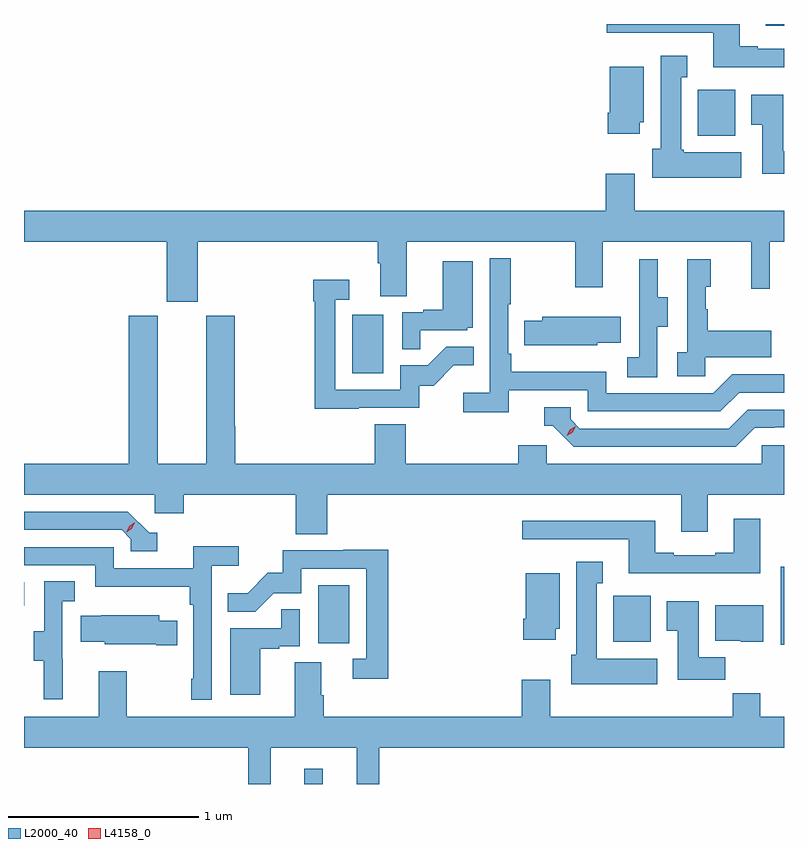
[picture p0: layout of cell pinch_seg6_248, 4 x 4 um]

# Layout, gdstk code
import gdstk
lib = gdstk.Library(unit=1e-6, precision=1e-09)
def R(c, l, rs):  # rectangles x0, y0, x1, y1
    for r in rs: c.add(gdstk.rectangle(r[:2], r[2:], *l))
def P(c, l, *ps):  # polygons
    for p in ps: c.add(gdstk.Polygon(p, *l))
L2000_40 = (2000, 40)
L4158_0 = (4158, 0)

pinch_seg6_248 = lib.new_cell('pinch_seg6_248')
R(pinch_seg6_248, L2000_40, [(1132.322,920.506,1132.419,920.587), (1134.83,921.239,1134.846,921.649), (1132.394,921.246,1132.558,921.553), (1133.948,921.254,1134.145,921.496), (1130.846,921.443,1130.848,921.567), (1132.574,922.668,1132.738,922.975), (1134.392,923.918,1134.589,924.16), (1134.749,924.498,1134.846,924.506)])
P(pinch_seg6_248, L2000_40, [(1134.846,924.375),(1134.709,924.375),(1134.709,924.388),(1134.613,924.388),(1134.613,924.506),(1133.913,924.506),(1133.913,924.459),(1134.473,924.459),(1134.473,924.278),(1134.846,924.278)],
  [(1134.622,923.83),(1134.318,923.83),(1134.318,923.844),(1134.304,923.844),(1134.304,924.227),(1134.337,924.227),(1134.337,924.34),(1134.197,924.34),(1134.197,923.85),(1134.152,923.85),(1134.152,923.696),(1134.622,923.696)],
  [(1134.088,923.988),(1134.109,923.988),(1134.109,924.28),(1133.93,924.28),(1133.93,924.04),(1133.918,924.04),(1133.918,923.928),(1134.088,923.928)],
  [(1134.846,923.836),(1134.841,923.836),(1134.841,924.133),(1134.674,924.133),(1134.674,923.977),(1134.731,923.977),(1134.731,923.718),(1134.846,923.718)],
  [(1131.76,923.36),(1132.709,923.36),(1132.709,923.248),(1132.721,923.248),(1132.721,923.074),(1132.861,923.074),(1132.861,923.36),(1133.746,923.36),(1133.746,923.121),(1133.893,923.121),(1133.893,923.36),(1134.674,923.36),(1134.674,923.112),(1134.771,923.112),(1134.771,923.36),(1134.846,923.36),(1134.846,923.524),(1134.061,923.524),(1134.061,923.719),(1133.909,923.719),(1133.909,923.524),(1130.846,923.524),(1130.846,923.36),(1131.596,923.36),(1131.596,923.043),(1131.76,923.043)],
  [(1133.396,922.578),(1133.814,922.578),(1133.814,922.467),(1134.511,922.467),(1134.61,922.566),(1134.846,922.566),(1134.846,922.662),(1134.573,922.662),(1134.474,922.563),(1133.91,922.563),(1133.91,922.675),(1133.411,922.675),(1133.411,922.771),(1133.394,922.771),(1133.394,923.032),(1133.407,923.032),(1133.407,923.272),(1133.298,923.272),(1133.298,922.564),(1133.157,922.564),(1133.157,922.462),(1133.396,922.462)],
  [(1134.18,922.912),(1134.235,922.912),(1134.235,923.067),(1134.181,923.067),(1134.181,923.269),(1134.083,923.269),(1134.083,923.055),(1134.084,923.055),(1134.084,922.751),(1134.021,922.751),(1134.021,922.648),(1134.18,922.648)],
  [(1134.432,922.751),(1134.779,922.751),(1134.779,922.891),(1134.445,922.891),(1134.445,923.006),(1134.435,923.006),(1134.435,923.124),(1134.46,923.124),(1134.46,923.269),(1134.336,923.269),(1134.336,922.778),(1134.285,922.778),(1134.285,922.653),(1134.432,922.653)],
  [(1132.931,922.893),(1133.178,922.893),(1133.178,922.908),(1133.209,922.908),(1133.209,923.257),(1133.051,923.257),(1133.051,923.002),(1132.947,923.002),(1132.947,922.989),(1132.836,922.989),(1132.836,922.795),(1132.931,922.795)],
  [(1132.607,922.485),(1132.926,922.485),(1132.926,922.602),(1133.002,922.602),(1133.109,922.709),(1133.213,922.709),(1133.213,922.808),(1133.069,922.808),(1132.971,922.71),(1132.827,922.71),(1132.827,922.581),(1132.485,922.581),(1132.485,923.055),(1132.558,923.055),(1132.558,923.161),(1132.369,923.161),(1132.369,923.048),(1132.377,923.048),(1132.377,922.48),(1132.607,922.48)],
  [(1132.442,922.028),(1134.305,922.028),(1134.305,921.834),(1134.445,921.834),(1134.445,922.028),(1134.846,922.028),(1134.846,922.29),(1134.729,922.29),(1134.729,922.192),(1133.598,922.192),(1133.598,922.29),(1133.447,922.29),(1133.447,922.192),(1132.856,922.192),(1132.856,922.4),(1132.691,922.4),(1132.691,922.192),(1131.959,922.192),(1131.959,922.388),(1131.954,922.388),(1131.954,922.971),(1131.806,922.971),(1131.806,922.192),(1131.55,922.192),(1131.55,922.971),(1131.398,922.971),(1131.398,922.192),(1130.846,922.192),(1130.846,922.028),(1131.534,922.028),(1131.534,921.93),(1131.686,921.93),(1131.686,922.028),(1132.277,922.028),(1132.277,921.82),(1132.442,921.82)],
  [(1133.862,922.829),(1133.987,922.829),(1133.987,922.966),(1133.573,922.966),(1133.573,922.944),(1133.479,922.944),(1133.479,922.815),(1133.59,922.815),(1133.59,922.814),(1133.862,922.814)],
  [(1134.691,922.38),(1134.798,922.38),(1134.798,922.383),(1134.846,922.383),(1134.846,922.476),(1134.654,922.476),(1134.555,922.377),(1133.772,922.377),(1133.724,922.425),(1133.724,922.488),(1133.585,922.488),(1133.585,922.392),(1133.628,922.392),(1133.739,922.281),(1134.592,922.281)],
  [(1131.547,921.828),(1131.504,921.828),(1131.393,921.939),(1130.846,921.939),(1130.846,921.843),(1131.36,921.843),(1131.408,921.795),(1131.408,921.732),(1131.547,921.732)],
  [(1134.721,921.901),(1134.581,921.901),(1134.581,921.724),(1134.485,921.724),(1134.485,921.711),(1134.265,921.711),(1134.265,921.724),(1134.169,921.724),(1134.169,921.892),(1133.469,921.892),(1133.469,921.795),(1134.029,921.795),(1134.029,921.614),(1134.721,921.614)],
  [(1131.834,921.656),(1131.976,921.656),(1131.976,921.758),(1131.737,921.758),(1131.737,921.642),(1131.318,921.642),(1131.318,921.753),(1130.846,921.753),(1130.846,921.657),(1131.222,921.657),(1131.222,921.545),(1131.718,921.545),(1131.718,921.449),(1131.738,921.449),(1131.738,921.061),(1131.726,921.061),(1131.726,920.949),(1131.834,920.949)],
  [(1132.763,921.74),(1132.525,921.74),(1132.525,921.735),(1132.207,921.735),(1132.207,921.618),(1132.13,921.618),(1132.023,921.511),(1131.919,921.511),(1131.919,921.412),(1132.063,921.412),(1132.161,921.51),(1132.305,921.51),(1132.305,921.639),(1132.647,921.639),(1132.647,921.165),(1132.575,921.165),(1132.575,921.06),(1132.763,921.06)],
  [(1134.178,921.166),(1133.86,921.166),(1133.86,921.563),(1133.893,921.563),(1133.893,921.676),(1133.753,921.676),(1133.753,921.186),(1133.726,921.186),(1133.726,921.032),(1134.178,921.032)],
  [(1133.644,921.324),(1133.665,921.324),(1133.665,921.616),(1133.486,921.616),(1133.486,921.376),(1133.474,921.376),(1133.474,921.264),(1133.644,921.264)],
  [(1131.05,921.165),(1131.048,921.165),(1131.048,921.469),(1131.112,921.469),(1131.112,921.572),(1130.952,921.572),(1130.952,921.309),(1130.897,921.309),(1130.897,921.154),(1130.951,921.154),(1130.951,920.952),(1131.05,920.952)],
  [(1134.536,921.172),(1134.397,921.172),(1134.397,921.469),(1134.23,921.469),(1134.23,921.313),(1134.287,921.313),(1134.287,921.054),(1134.536,921.054)],
  [(1134.736,921.448),(1134.485,921.448),(1134.485,921.26),(1134.618,921.26),(1134.618,921.254),(1134.736,921.254)],
  [(1132.09,921.219),(1132.19,921.219),(1132.19,921.231),(1132.296,921.231),(1132.296,921.425),(1132.201,921.425),(1132.201,921.327),(1131.932,921.327),(1131.932,920.976),(1132.09,920.976)],
  [(1131.653,921.364),(1131.559,921.364),(1131.559,921.394),(1131.253,921.394),(1131.253,921.391),(1131.145,921.391),(1131.145,921.254),(1131.27,921.254),(1131.27,921.242),(1131.542,921.242),(1131.542,921.235),(1131.653,921.235)],
  [(1132.145,920.696),(1132.598,920.696),(1132.598,920.506),(1132.715,920.506),(1132.715,920.696),(1134.846,920.696),(1134.846,920.86),(1134.721,920.86),(1134.721,920.984),(1134.577,920.984),(1134.577,920.86),(1133.617,920.86),(1133.617,921.055),(1133.465,921.055),(1133.465,920.86),(1132.424,920.86),(1132.424,920.972),(1132.411,920.972),(1132.411,921.146),(1132.271,921.146),(1132.271,920.86),(1131.387,920.86),(1131.387,921.1),(1131.239,921.1),(1131.239,920.86),(1130.846,920.86),(1130.846,920.696),(1132.027,920.696),(1132.027,920.506),(1132.145,920.506)])
P(pinch_seg6_248, L4158_0, [(1131.383,921.831),(1131.383,921.831),(1131.399,921.863),(1131.429,921.883),(1131.429,921.883),(1131.429,921.882),(1131.414,921.85),(1131.383,921.831)],
  [(1133.702,922.338),(1133.702,922.338),(1133.719,922.37),(1133.75,922.389),(1133.751,922.389),(1133.751,922.389),(1133.734,922.357),(1133.702,922.338)])

lib.write_gds('pinch_seg6_248.gds')
